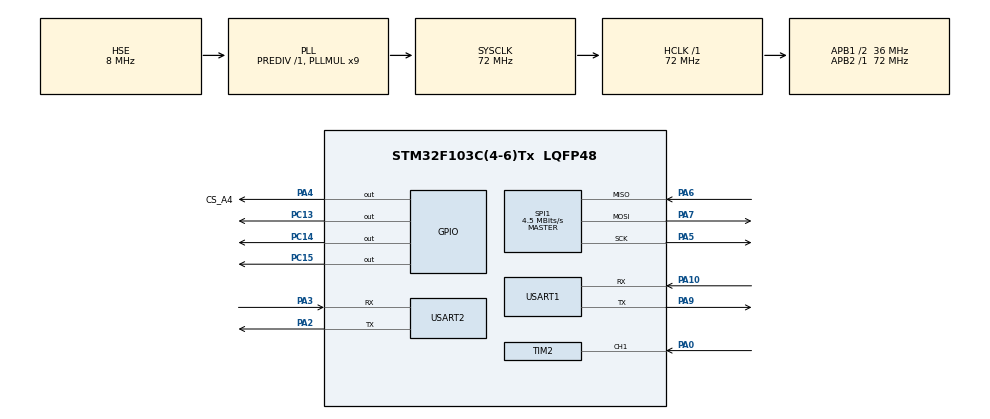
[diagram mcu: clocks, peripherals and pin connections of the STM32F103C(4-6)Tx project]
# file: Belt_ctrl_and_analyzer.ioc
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Mcu.Family=STM32F1
Mcu.Name=STM32F103C(4-6)Tx
Mcu.Package=LQFP48
NVIC.PriorityGroup=NVIC_PRIORITYGROUP_4
NVIC.TIM1_UP_IRQn=true\:0\:0\:false\:false\:true\:true\:true
NVIC.TIM2_IRQn=true\:0\:0\:false\:false\:true\:true\:true
PA0-WKUP.GPIO_PuPd=GPIO_PULLUP
PA0-WKUP.Signal=S_TIM2_CH1_ETR
PA10.Mode=Asynchronous
PA10.Signal=USART1_RX
PA13.Mode=Serial_Wire
PA13.Signal=SYS_JTMS-SWDIO
PA14.Mode=Serial_Wire
PA14.Signal=SYS_JTCK-SWCLK
PA2.Mode=Asynchronous
PA2.Signal=USART2_TX
PA3.Mode=Asynchronous
PA3.Signal=USART2_RX
PA4.GPIO_Label=CS_A4
PA4.GPIO_Speed=GPIO_SPEED_FREQ_MEDIUM
PA4.Signal=GPIO_Output
PA5.Mode=Full_Duplex_Master
PA5.Signal=SPI1_SCK
PA6.Mode=Full_Duplex_Master
PA6.Signal=SPI1_MISO
PA7.Mode=Full_Duplex_Master
PA7.Signal=SPI1_MOSI
PA9.Mode=Asynchronous
PA9.Signal=USART1_TX
PC13-TAMPER-RTC.Signal=GPIO_Output
PC14-OSC32_IN.Signal=GPIO_Output
PC15-OSC32_OUT.Signal=GPIO_Output
PD0-OSC_IN.Mode=HSE-External-Oscillator
PD0-OSC_IN.Signal=RCC_OSC_IN
PD1-OSC_OUT.Mode=HSE-External-Oscillator
PD1-OSC_OUT.Signal=RCC_OSC_OUT
ProjectManager.HeapSize=0x200
ProjectManager.StackSize=0x400
ProjectManager.TargetToolchain=MDK-ARM V5.32
RCC.AHBFreq_Value=72000000
RCC.APB1CLKDivider=RCC_HCLK_DIV2
RCC.APB1Freq_Value=36000000
RCC.APB1TimFreq_Value=72000000
RCC.APB2Freq_Value=72000000
RCC.APB2TimFreq_Value=72000000
RCC.HCLKFreq_Value=72000000
RCC.PLLMUL=RCC_PLL_MUL9
RCC.PLLSourceVirtual=RCC_PLLSOURCE_HSE
RCC.SYSCLKFreq_VALUE=72000000
RCC.SYSCLKSource=RCC_SYSCLKSOURCE_PLLCLK
RCC.USBFreq_Value=72000000
SH.S_TIM2_CH1_ETR.0=TIM2_CH1,Input_Capture1_from_TI1
SH.S_TIM2_CH1_ETR.1=TIM2_CH1,Input_Capture2_from_TI1
SPI1.BaudRatePrescaler=SPI_BAUDRATEPRESCALER_16
SPI1.CLKPhase=SPI_PHASE_2EDGE
SPI1.CalculateBaudRate=4.5 MBits/s
SPI1.DataSize=SPI_DATASIZE_16BIT
SPI1.Direction=SPI_DIRECTION_2LINES
SPI1.Mode=SPI_MODE_MASTER
SPI1.VirtualType=VM_MASTER
TIM1.Period=99
TIM1.Prescaler=71
TIM2.Channel-Input_Capture1_from_TI1=TIM_CHANNEL_1
TIM2.Channel-Input_Capture2_from_TI1=TIM_CHANNEL_2
TIM2.ICPolarity_CH2=TIM_INPUTCHANNELPOLARITY_FALLING
TIM2.Period=50000
TIM2.Prescaler=8
TIM3.Period=1000
TIM3.Prescaler=71
USART1.VirtualMode=VM_ASYNC
USART2.VirtualMode=VM_ASYNC
VP_TIM1_VS_ClockSourceINT.Mode=Internal
VP_TIM2_VS_ClockSourceINT.Mode=Internal
VP_TIM3_VS_ClockSourceINT.Mode=Internal
board=custom

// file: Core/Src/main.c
/* USER CODE BEGIN Header */
/**
  ******************************************************************************
  * @file           : main.c
  * @brief          : Main program body
  ******************************************************************************
  * @attention
  *
  * Copyright (c) 2022 STMicroelectronics.
  * All rights reserved.
  *
  * This software is licensed under terms that can be found in the LICENSE file
  * in the root directory of this software component.
  * If no LICENSE file comes with this software, it is provided AS-IS.
  *
  ******************************************************************************
  */
/* USER CODE END Header */
#include "main.h"
#include "spi.h"
#include "tim.h"
#include "usart.h"
#include "gpio.h"

/* USER CODE BEGIN Includes */
#include "defines.h"
/* USER CODE END Includes */

/* USER CODE BEGIN PD */
#define SPEED_CORRECTION_BY_PWM_IN
#define ANGLE_LOOP	1
#define DRV_LOOP	2
#define PC_LOOP	3
/* USER CODE END PD */

/* USER CODE BEGIN PV */
extern volatile uint32_t angle_loop, drv_loop, pc_loop, count_max;
/* USER CODE END PV */

void SystemClock_Config(void);
/* USER CODE BEGIN PFP */
void SetLoopsFrequency(uint8_t loop, uint32_t value);
void SetUpdateFreq(uint32_t freq);
/* USER CODE END PFP */

/* USER CODE BEGIN 0 */
uint32_t period;
uint32_t pulseWidth;
uint32_t i,d;
uint32_t pwm;
uint32_t pwm_valid;
uint32_t sys_count;
uint32_t sys_count_pred;

float speed_drv1 =0.1f;
float speed = 0.0f;
volatile uint8_t f_send_to_drv = 0;  // flag - to send
#define BUF_SIZE_DRV			6
#define BUF_SIZE_DRV_SEND	7
uint8_t buf_drv_send[BUF_SIZE_DRV_SEND];					// uint8_t code + float speed
uint8_t buf_drv_send_decoded[BUF_SIZE_DRV_SEND - 2];
volatile uint8_t lets_time_to_read_angle = 0, lets_time_to_send_angle = 0;
uint16_t angle_raw_int = 0;
uint16_t angle_raw_int_filtred = 0;
float angle_raw_float = 0;
float angle_raw_float_filtred = 0;
uint8_t str_1f[BUF_SIZE_FLOAT_UART+2];
//uint8_t str_2f[2*BUF_SIZE_FLOAT_UART+2+1];	 // format: $float;   ore $float1 float2;
uint8_t str_2f[50];	 // format: $float;   ore $float1 float2;
uint32_t update_freq = 0;
/* USER CODE END 0 */

int main(void)
{

  /* MCU Configuration--------------------------------------------------------*/

  /* Reset of all peripherals, Initializes the Flash interface and the Systick. */
  HAL_Init();

  /* Configure the system clock */
  SystemClock_Config();

  /* USER CODE BEGIN SysInit */
	SystemCoreClockUpdate();
  /* USER CODE END SysInit */

  /* Initialize all configured peripherals */
  MX_GPIO_Init();
  MX_TIM1_Init();
  MX_SPI1_Init();
  MX_TIM3_Init();
  MX_USART1_UART_Init();
  MX_USART2_UART_Init();
  MX_TIM2_Init();
  /* USER CODE BEGIN 2 */
	HAL_TIM_IC_Start_IT(&htim2, TIM_CHANNEL_1);
  HAL_TIM_IC_Start_IT(&htim2, TIM_CHANNEL_2);

	__HAL_TIM_CLEAR_FLAG(&htim1, TIM_SR_UIF); // clear interrupt bits
	__HAL_TIM_CLEAR_FLAG(&htim3, TIM_SR_UIF);
	HAL_TIM_Base_Start_IT(&htim1);
	__HAL_TIM_ENABLE_IT(&htim3, TIM_IT_UPDATE);
	USART1->CR1 |= USART_CR1_RXNEIE;
	USART2->CR1 |= USART_CR1_RXNEIE;
	//SysTick_Config(SystemCoreClock/2000); // 2000 times per second
	//Set update frequency in Hz (Note!! Timer clock = 1 MHz)
	SetUpdateFreq(500);
	//Set angle loop frequency in Hz
	SetLoopsFrequency(ANGLE_LOOP, 100); // 100 Hz => 10 ms
	//Set driver loop frequency in Hz
	SetLoopsFrequency(DRV_LOOP, 50);    // 50 Hz => 20 ms
	//Set PC loop frequency in Hz
	SetLoopsFrequency(PC_LOOP, 20);     // 20 Hz => 50 ms
	//Update timer start
	__HAL_TIM_CLEAR_FLAG(&htim1, TIM_SR_UIF); // clear int flag
	HAL_TIM_Base_Start_IT(&htim1);

	HAL_TIM_Base_Start_IT(&htim3);

  /* USER CODE END 2 */

  /* Infinite loop */
  while (1)
  {

    /* USER CODE BEGIN 3 */
		if (f_send_to_drv) {
			f_send_to_drv = 0;
			buf_drv_send_decoded[0] = 'v';
			memcpy(buf_drv_send_decoded + 1, &speed, sizeof(float));
			cobs_encode(buf_drv_send_decoded, BUF_SIZE_DRV_SEND - 2, buf_drv_send); // inp, lenght = 5 ?, outp
			HAL_UART_Transmit(&huart2, buf_drv_send, BUF_SIZE_DRV_SEND, 0x0FFF);
		}
		if (lets_time_to_read_angle) {
			lets_time_to_read_angle = 0;
			//temp_f = get_angle();
			angle_raw_int = get_angle_raw();
			angle_raw_float = (float)(angle_raw_int)*0.021973997;
			angle_raw_int_filtred = Filter_SMA(angle_raw_int);
			angle_raw_float_filtred = (float)(angle_raw_int_filtred)*0.021973997;
			// Speed calcualtion
			//angle_raw_float_filtred = angle_raw_float_filtred - 152.6; // New position 05.13
			angle_raw_float_filtred = angle_raw_float_filtred - 54.6; // New position 05.30
			//if (angle_raw_float_filtred > 185) speed = 0;  //  05.13
			if (angle_raw_float_filtred > 167.5) speed = 0;  //  05.30
			else {
				#if defined (SPEED_CORRECTION_BY_PWM_IN)
					//speed = (1.1125 - 0.00612 * angle_raw_float_filtred)*((float)pwm_valid/100 + 1);  //  05.13
					speed = (1.0337 - 0.00612 * angle_raw_float_filtred)*((float)pwm_valid/100 + 1);    //  05.30
				#else
					speed = 1.1125 - 0.00612 * angle_raw_float_filtred;
				#endif
			}
			if (speed <0.0f) speed = 0.0f;
			if (speed > 1.0f) speed = 1.0f;
		}
		if (lets_time_to_send_angle)
		{
			lets_time_to_send_angle = 0;
			//len = strlen(str_2f);
			sprintf(str_2f, "$%f %f;" , angle_raw_float, angle_raw_float_filtred);
			HAL_UART_Transmit(&huart1, str_2f, strlen(str_2f), 0x0FFF);
		}
  }
  /* USER CODE END 3 */
}

void SystemClock_Config(void)
{
  RCC_OscInitTypeDef RCC_OscInitStruct = {0};
  RCC_ClkInitTypeDef RCC_ClkInitStruct = {0};

  /** Initializes the RCC Oscillators according to the specified parameters
  * in the RCC_OscInitTypeDef structure.
  */
  RCC_OscInitStruct.OscillatorType = RCC_OSCILLATORTYPE_HSE;
  RCC_OscInitStruct.HSEState = RCC_HSE_ON;
  RCC_OscInitStruct.HSEPredivValue = RCC_HSE_PREDIV_DIV1;
  RCC_OscInitStruct.HSIState = RCC_HSI_ON;
  RCC_OscInitStruct.PLL.PLLState = RCC_PLL_ON;
  RCC_OscInitStruct.PLL.PLLSource = RCC_PLLSOURCE_HSE;
  RCC_OscInitStruct.PLL.PLLMUL = RCC_PLL_MUL9;
  if (HAL_RCC_OscConfig(&RCC_OscInitStruct) != HAL_OK)
  {
    Error_Handler();
  }
  /** Initializes the CPU, AHB and APB buses clocks
  */
  RCC_ClkInitStruct.ClockType = RCC_CLOCKTYPE_HCLK|RCC_CLOCKTYPE_SYSCLK
                              |RCC_CLOCKTYPE_PCLK1|RCC_CLOCKTYPE_PCLK2;
  RCC_ClkInitStruct.SYSCLKSource = RCC_SYSCLKSOURCE_PLLCLK;
  RCC_ClkInitStruct.AHBCLKDivider = RCC_SYSCLK_DIV1;
  RCC_ClkInitStruct.APB1CLKDivider = RCC_HCLK_DIV2;
  RCC_ClkInitStruct.APB2CLKDivider = RCC_HCLK_DIV1;

  if (HAL_RCC_ClockConfig(&RCC_ClkInitStruct, FLASH_LATENCY_2) != HAL_OK)
  {
    Error_Handler();
  }
}

/* USER CODE BEGIN 4 */
void SetUpdateFreq(uint32_t freq)
{
	if(freq > 1000000) freq = 1000000;
	TIM3->ARR = SystemCoreClock/(TIM3->PSC+1)/freq;
	update_freq = count_max = freq;
}

void SetLoopsFrequency(uint8_t loop, uint32_t value)
{
	if(value != 0)
	{
		switch(loop)
		{
			case ANGLE_LOOP:
			{
				angle_loop = update_freq/value;
				break;
			}
			case DRV_LOOP:
			{
				drv_loop = update_freq/value;
				break;
			}
			case PC_LOOP:
			{
				pc_loop = update_freq/value;
				break;
			}
		}
	}

}

void HAL_TIM_IC_CaptureCallback(TIM_HandleTypeDef *htim)
{
    if (htim->Instance == TIM2)
    {
        if(htim->Channel == HAL_TIM_ACTIVE_CHANNEL_1)
        {
            TIM2->CNT = 0;

            period = HAL_TIM_ReadCapturedValue(&htim2, TIM_CHANNEL_1);
            pulseWidth = HAL_TIM_ReadCapturedValue(&htim2, TIM_CHANNEL_2);
						if (( period < 7200) && (period > 8800)) {
							pwm = 0;
						}
						else {
							if ((pulseWidth > 5) && (pulseWidth < period - 5)) pwm = pulseWidth;
							else {
								if (pulseWidth <= 5) pwm = 0;
								if ((pulseWidth >= period - 5) && (pulseWidth <  period)) pwm = 0;
								if (pulseWidth >= period) pwm = 0;
								}
							}
        }
    }
		sys_count ++;
}

/* USER CODE END 4 */

void Error_Handler(void)
{
  __disable_irq();
  while (1)
  {
  }
}
